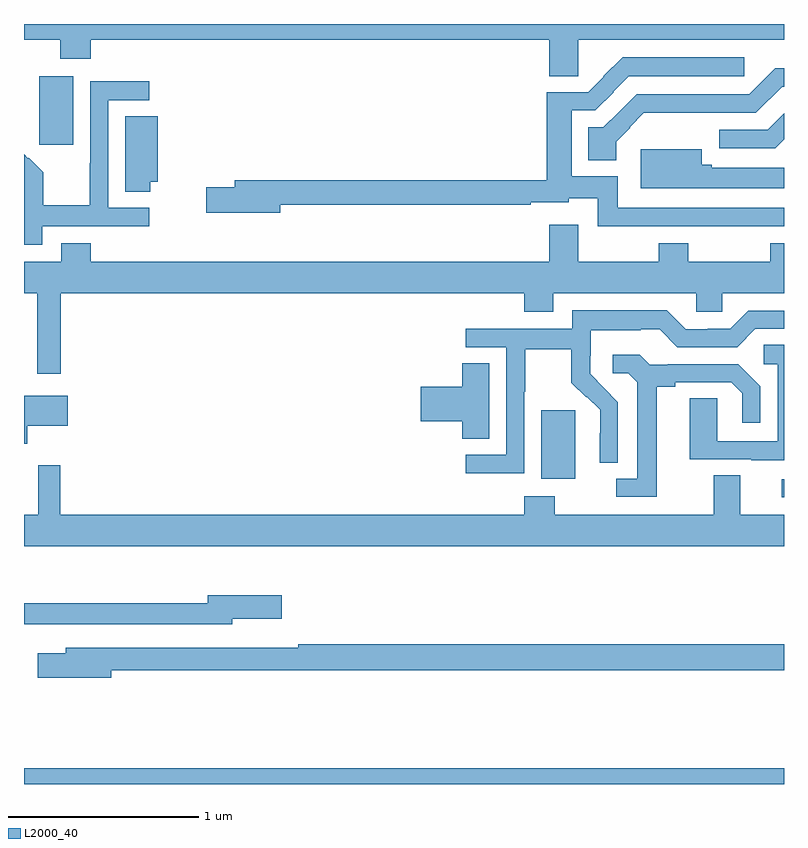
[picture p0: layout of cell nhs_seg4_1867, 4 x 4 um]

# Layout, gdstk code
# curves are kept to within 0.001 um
import gdstk
lib = gdstk.Library(unit=1e-6, precision=1e-09)
def R(c, l, rs):  # rectangles x0, y0, x1, y1
    for r in rs: c.add(gdstk.rectangle(r[:2], r[2:], *l))
def P(c, l, *ps):  # polygons
    for p in ps: c.add(gdstk.Polygon(p, *l))
L2000_40 = (2000, 40)

nhs_seg4_1867 = lib.new_cell('nhs_seg4_1867')
R(nhs_seg4_1867, L2000_40, [(207,796.9,211,796.984), (210.987,798.408,211,798.504), (209.723,798.506,209.902,798.867), (207.08,800.265,207.259,800.626)])
P(nhs_seg4_1867, L2000_40, [(209.916,800.816),(211,800.816),(211,800.9),(207,800.9),(207,800.816),(207.19,800.816),(207.19,800.717),(207.35,800.717),(207.35,800.816),(209.765,800.816),(209.765,800.626),(209.916,800.626)],
  [(210.251,799.836),(211,799.836),(211,799.932),(210.124,799.932),(210.124,800.098),(209.884,800.098),(209.884,800.445),(210.007,800.445),(210.104,800.542),(210.102,800.544),(210.183,800.625),(210.79,800.625),(210.79,800.725),(210.15,800.725),(210.049,800.624),(210.051,800.622),(209.97,800.541),(209.75,800.541),(209.75,800.078),(208.109,800.078),(208.109,800.042),(207.96,800.042),(207.96,799.907),(208.348,799.907),(208.348,799.95),(209.666,799.95),(209.666,799.962),(209.868,799.962),(209.868,799.982),(210.02,799.982),(210.02,799.835)],
  [(210.118,800.281),(210.191,800.354),(210.188,800.357),(210.263,800.432),(210.852,800.433),(210.99,800.571),(211,800.571),(211,800.668),(210.955,800.668),(210.816,800.529),(210.224,800.529),(210.049,800.356),(209.969,800.356),(209.969,800.184),(210.118,800.184)],
  [(207.096,799.836),(207.658,799.836),(207.658,799.932),(207.444,799.932),(207.444,800.499),(207.658,800.499),(207.658,800.598),(207.348,800.598),(207.348,800.168),(207.346,800.168),(207.346,799.945),(207.101,799.945),(207.101,800.119),(207.024,800.196),(207.021,800.193),(207,800.214),(207,800.076),(207.002,800.074),(207.002,799.977),(207,799.977),(207,799.739),(207.096,799.739)],
  [(211,800.293),(211,800.429),(210.914,800.343),(210.66,800.343),(210.66,800.247),(210.954,800.247)],
  [(207.664,800.07),(207.704,800.07),(207.704,800.414),(207.533,800.414),(207.533,800.017),(207.664,800.017)],
  [(211,800.143),(210.621,800.143),(210.621,800.158),(210.568,800.158),(210.568,800.242),(210.246,800.242),(210.246,800.036),(211,800.036)],
  [(207.194,799.484),(209.633,799.484),(209.633,799.385),(209.785,799.385),(209.785,799.484),(210.537,799.484),(210.537,799.386),(210.675,799.386),(210.675,799.484),(211,799.484),(211,799.747),(210.928,799.747),(210.928,799.648),(210.495,799.648),(210.495,799.747),(210.34,799.747),(210.34,799.648),(209.917,799.648),(209.917,799.843),(209.765,799.843),(209.765,799.648),(207.35,799.648),(207.35,799.747),(207.197,799.747),(207.197,799.648),(207,799.648),(207,799.484),(207.071,799.484),(207.071,799.059),(207.194,799.059)],
  [(209.634,798.964),(209.637,798.964),(209.637,799.188),(209.881,799.188),(209.881,799.013),(209.958,798.936),(209.961,798.939),(210.032,798.869),(210.032,798.746),(210.03,798.746),(210.03,798.592),(210.126,798.592),(210.126,798.91),(209.98,799.058),(209.98,799.155),(209.982,799.155),(209.982,799.289),(210.245,799.289),(210.245,799.293),(210.345,799.293),(210.438,799.2),(210.753,799.2),(210.849,799.296),(211,799.296),(211,799.392),(210.813,799.392),(210.717,799.296),(210.599,799.296),(210.599,799.293),(210.483,799.293),(210.383,799.393),(209.886,799.393),(209.886,799.296),(209.325,799.296),(209.325,799.2),(209.538,799.2),(209.538,798.633),(209.325,798.633),(209.325,798.535),(209.634,798.535)],
  [(211,799.211),(210.894,799.211),(210.894,799.11),(210.966,799.11),(210.966,798.705),(210.648,798.705),(210.648,798.929),(210.503,798.929),(210.503,798.609),(210.827,798.609),(210.827,798.605),(211,798.605)],
  [(210.331,798.992),(210.427,798.992),(210.427,799.014),(210.722,799.014),(210.779,798.957),(210.779,798.801),(210.876,798.801),(210.876,798.994),(210.76,799.11),(210.388,799.11),(210.388,799.107),(210.294,799.107),(210.242,799.159),(210.099,799.159),(210.099,799.062),(210.18,799.062),(210.227,799.015),(210.227,798.507),(210.117,798.507),(210.117,798.411),(210.331,798.411)],
  [(209.449,799.115),(209.306,799.115),(209.306,798.992),(209.088,798.992),(209.088,798.809),(209.306,798.809),(209.306,798.718),(209.449,798.718)],
  [(207.017,798.785),(207.229,798.785),(207.229,798.943),(207,798.943),(207,798.69),(207.017,798.69)],
  [(211,798.316),(210.769,798.316),(210.769,798.524),(210.629,798.524),(210.629,798.316),(209.793,798.316),(209.793,798.415),(209.633,798.415),(209.633,798.316),(207.191,798.316),(207.191,798.577),(207.075,798.577),(207.075,798.316),(207,798.316),(207,798.152),(211,798.152)],
  [(208.096,797.771),(208.357,797.771),(208.357,797.893),(207.968,797.893),(207.968,797.851),(207,797.851),(207,797.742),(208.096,797.742)],
  [(207.46,797.5),(211,797.5),(211,797.636),(208.444,797.636),(208.444,797.617),(208.192,797.617),(208.192,797.616),(207.221,797.616),(207.221,797.587),(207.072,797.587),(207.072,797.458),(207.46,797.458)])

lib.write_gds('nhs_seg4_1867.gds')
